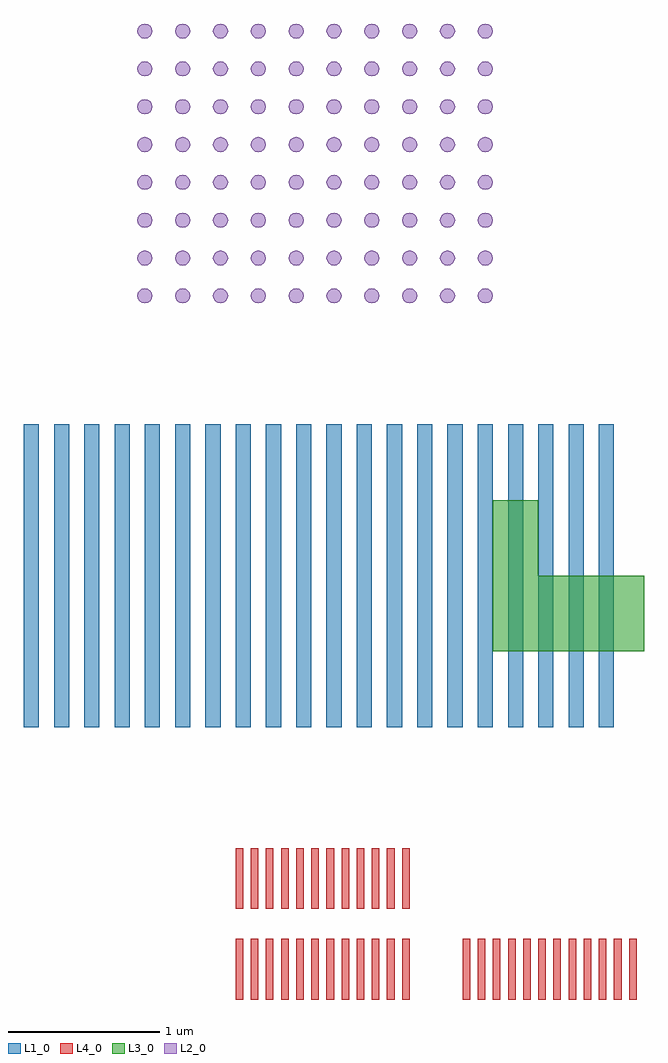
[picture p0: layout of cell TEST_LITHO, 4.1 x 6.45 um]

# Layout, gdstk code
import gdstk
lib = gdstk.Library(unit=1e-6, precision=1e-09)
def R(c, l, rs):  # rectangles x0, y0, x1, y1
    for r in rs: c.add(gdstk.rectangle(r[:2], r[2:], *l))
def A(c, l, x, y, w, h, nx, ny, dx, dy):  # array of equal rectangles
    R(c, l, [(x+i*dx, y+j*dy, x+i*dx+w, y+j*dy+h) for i in range(nx) for j in range(ny)])
def P(c, l, *ps):  # polygons
    for p in ps: c.add(gdstk.Polygon(p, *l))
L1_0 = (1, 0)
L2_0 = (2, 0)
L3_0 = (3, 0)
L4_0 = (4, 0)

dense_ls_50nm = lib.new_cell('DENSE_LS_50NM')
A(dense_ls_50nm, L4_0, 0, 0, 0.05, 0.4, 12, 1, 0.1, 0)

test_litho = lib.new_cell('TEST_LITHO')
A(test_litho, L1_0, -2, -1, 0.1, 2, 20, 1, 0.2, 0)
P(test_litho, L2_0, [(-1.15,1.85),(-1.154,1.869),(-1.165,1.885),(-1.181,1.896),(-1.2,1.9),(-1.219,1.896),(-1.235,1.885),(-1.246,1.869),(-1.25,1.85),(-1.246,1.831),(-1.235,1.815),(-1.219,1.804),(-1.2,1.8),(-1.181,1.804),(-1.165,1.815),(-1.154,1.831)],
  [(-1.15,2.1),(-1.154,2.119),(-1.165,2.135),(-1.181,2.146),(-1.2,2.15),(-1.219,2.146),(-1.235,2.135),(-1.246,2.119),(-1.25,2.1),(-1.246,2.081),(-1.235,2.065),(-1.219,2.054),(-1.2,2.05),(-1.181,2.054),(-1.165,2.065),(-1.154,2.081)],
  [(-1.15,2.35),(-1.154,2.369),(-1.165,2.385),(-1.181,2.396),(-1.2,2.4),(-1.219,2.396),(-1.235,2.385),(-1.246,2.369),(-1.25,2.35),(-1.246,2.331),(-1.235,2.315),(-1.219,2.304),(-1.2,2.3),(-1.181,2.304),(-1.165,2.315),(-1.154,2.331)],
  [(-1.15,2.6),(-1.154,2.619),(-1.165,2.635),(-1.181,2.646),(-1.2,2.65),(-1.219,2.646),(-1.235,2.635),(-1.246,2.619),(-1.25,2.6),(-1.246,2.581),(-1.235,2.565),(-1.219,2.554),(-1.2,2.55),(-1.181,2.554),(-1.165,2.565),(-1.154,2.581)],
  [(-1.15,2.85),(-1.154,2.869),(-1.165,2.885),(-1.181,2.896),(-1.2,2.9),(-1.219,2.896),(-1.235,2.885),(-1.246,2.869),(-1.25,2.85),(-1.246,2.831),(-1.235,2.815),(-1.219,2.804),(-1.2,2.8),(-1.181,2.804),(-1.165,2.815),(-1.154,2.831)],
  [(-1.15,3.1),(-1.154,3.119),(-1.165,3.135),(-1.181,3.146),(-1.2,3.15),(-1.219,3.146),(-1.235,3.135),(-1.246,3.119),(-1.25,3.1),(-1.246,3.081),(-1.235,3.065),(-1.219,3.054),(-1.2,3.05),(-1.181,3.054),(-1.165,3.065),(-1.154,3.081)],
  [(-1.15,3.35),(-1.154,3.369),(-1.165,3.385),(-1.181,3.396),(-1.2,3.4),(-1.219,3.396),(-1.235,3.385),(-1.246,3.369),(-1.25,3.35),(-1.246,3.331),(-1.235,3.315),(-1.219,3.304),(-1.2,3.3),(-1.181,3.304),(-1.165,3.315),(-1.154,3.331)],
  [(-1.15,3.6),(-1.154,3.619),(-1.165,3.635),(-1.181,3.646),(-1.2,3.65),(-1.219,3.646),(-1.235,3.635),(-1.246,3.619),(-1.25,3.6),(-1.246,3.581),(-1.235,3.565),(-1.219,3.554),(-1.2,3.55),(-1.181,3.554),(-1.165,3.565),(-1.154,3.581)],
  [(-0.9,1.85),(-0.904,1.869),(-0.915,1.885),(-0.931,1.896),(-0.95,1.9),(-0.969,1.896),(-0.985,1.885),(-0.996,1.869),(-1,1.85),(-0.996,1.831),(-0.985,1.815),(-0.969,1.804),(-0.95,1.8),(-0.931,1.804),(-0.915,1.815),(-0.904,1.831)],
  [(-0.9,2.1),(-0.904,2.119),(-0.915,2.135),(-0.931,2.146),(-0.95,2.15),(-0.969,2.146),(-0.985,2.135),(-0.996,2.119),(-1,2.1),(-0.996,2.081),(-0.985,2.065),(-0.969,2.054),(-0.95,2.05),(-0.931,2.054),(-0.915,2.065),(-0.904,2.081)],
  [(-0.9,2.35),(-0.904,2.369),(-0.915,2.385),(-0.931,2.396),(-0.95,2.4),(-0.969,2.396),(-0.985,2.385),(-0.996,2.369),(-1,2.35),(-0.996,2.331),(-0.985,2.315),(-0.969,2.304),(-0.95,2.3),(-0.931,2.304),(-0.915,2.315),(-0.904,2.331)],
  [(-0.9,2.6),(-0.904,2.619),(-0.915,2.635),(-0.931,2.646),(-0.95,2.65),(-0.969,2.646),(-0.985,2.635),(-0.996,2.619),(-1,2.6),(-0.996,2.581),(-0.985,2.565),(-0.969,2.554),(-0.95,2.55),(-0.931,2.554),(-0.915,2.565),(-0.904,2.581)],
  [(-0.9,2.85),(-0.904,2.869),(-0.915,2.885),(-0.931,2.896),(-0.95,2.9),(-0.969,2.896),(-0.985,2.885),(-0.996,2.869),(-1,2.85),(-0.996,2.831),(-0.985,2.815),(-0.969,2.804),(-0.95,2.8),(-0.931,2.804),(-0.915,2.815),(-0.904,2.831)],
  [(-0.9,3.1),(-0.904,3.119),(-0.915,3.135),(-0.931,3.146),(-0.95,3.15),(-0.969,3.146),(-0.985,3.135),(-0.996,3.119),(-1,3.1),(-0.996,3.081),(-0.985,3.065),(-0.969,3.054),(-0.95,3.05),(-0.931,3.054),(-0.915,3.065),(-0.904,3.081)],
  [(-0.9,3.35),(-0.904,3.369),(-0.915,3.385),(-0.931,3.396),(-0.95,3.4),(-0.969,3.396),(-0.985,3.385),(-0.996,3.369),(-1,3.35),(-0.996,3.331),(-0.985,3.315),(-0.969,3.304),(-0.95,3.3),(-0.931,3.304),(-0.915,3.315),(-0.904,3.331)],
  [(-0.9,3.6),(-0.904,3.619),(-0.915,3.635),(-0.931,3.646),(-0.95,3.65),(-0.969,3.646),(-0.985,3.635),(-0.996,3.619),(-1,3.6),(-0.996,3.581),(-0.985,3.565),(-0.969,3.554),(-0.95,3.55),(-0.931,3.554),(-0.915,3.565),(-0.904,3.581)],
  [(-0.65,1.85),(-0.654,1.869),(-0.665,1.885),(-0.681,1.896),(-0.7,1.9),(-0.719,1.896),(-0.735,1.885),(-0.746,1.869),(-0.75,1.85),(-0.746,1.831),(-0.735,1.815),(-0.719,1.804),(-0.7,1.8),(-0.681,1.804),(-0.665,1.815),(-0.654,1.831)],
  [(-0.65,2.1),(-0.654,2.119),(-0.665,2.135),(-0.681,2.146),(-0.7,2.15),(-0.719,2.146),(-0.735,2.135),(-0.746,2.119),(-0.75,2.1),(-0.746,2.081),(-0.735,2.065),(-0.719,2.054),(-0.7,2.05),(-0.681,2.054),(-0.665,2.065),(-0.654,2.081)],
  [(-0.65,2.35),(-0.654,2.369),(-0.665,2.385),(-0.681,2.396),(-0.7,2.4),(-0.719,2.396),(-0.735,2.385),(-0.746,2.369),(-0.75,2.35),(-0.746,2.331),(-0.735,2.315),(-0.719,2.304),(-0.7,2.3),(-0.681,2.304),(-0.665,2.315),(-0.654,2.331)],
  [(-0.65,2.6),(-0.654,2.619),(-0.665,2.635),(-0.681,2.646),(-0.7,2.65),(-0.719,2.646),(-0.735,2.635),(-0.746,2.619),(-0.75,2.6),(-0.746,2.581),(-0.735,2.565),(-0.719,2.554),(-0.7,2.55),(-0.681,2.554),(-0.665,2.565),(-0.654,2.581)],
  [(-0.65,2.85),(-0.654,2.869),(-0.665,2.885),(-0.681,2.896),(-0.7,2.9),(-0.719,2.896),(-0.735,2.885),(-0.746,2.869),(-0.75,2.85),(-0.746,2.831),(-0.735,2.815),(-0.719,2.804),(-0.7,2.8),(-0.681,2.804),(-0.665,2.815),(-0.654,2.831)],
  [(-0.65,3.1),(-0.654,3.119),(-0.665,3.135),(-0.681,3.146),(-0.7,3.15),(-0.719,3.146),(-0.735,3.135),(-0.746,3.119),(-0.75,3.1),(-0.746,3.081),(-0.735,3.065),(-0.719,3.054),(-0.7,3.05),(-0.681,3.054),(-0.665,3.065),(-0.654,3.081)],
  [(-0.65,3.35),(-0.654,3.369),(-0.665,3.385),(-0.681,3.396),(-0.7,3.4),(-0.719,3.396),(-0.735,3.385),(-0.746,3.369),(-0.75,3.35),(-0.746,3.331),(-0.735,3.315),(-0.719,3.304),(-0.7,3.3),(-0.681,3.304),(-0.665,3.315),(-0.654,3.331)],
  [(-0.65,3.6),(-0.654,3.619),(-0.665,3.635),(-0.681,3.646),(-0.7,3.65),(-0.719,3.646),(-0.735,3.635),(-0.746,3.619),(-0.75,3.6),(-0.746,3.581),(-0.735,3.565),(-0.719,3.554),(-0.7,3.55),(-0.681,3.554),(-0.665,3.565),(-0.654,3.581)],
  [(-0.4,1.85),(-0.404,1.869),(-0.415,1.885),(-0.431,1.896),(-0.45,1.9),(-0.469,1.896),(-0.485,1.885),(-0.496,1.869),(-0.5,1.85),(-0.496,1.831),(-0.485,1.815),(-0.469,1.804),(-0.45,1.8),(-0.431,1.804),(-0.415,1.815),(-0.404,1.831)],
  [(-0.4,2.1),(-0.404,2.119),(-0.415,2.135),(-0.431,2.146),(-0.45,2.15),(-0.469,2.146),(-0.485,2.135),(-0.496,2.119),(-0.5,2.1),(-0.496,2.081),(-0.485,2.065),(-0.469,2.054),(-0.45,2.05),(-0.431,2.054),(-0.415,2.065),(-0.404,2.081)],
  [(-0.4,2.35),(-0.404,2.369),(-0.415,2.385),(-0.431,2.396),(-0.45,2.4),(-0.469,2.396),(-0.485,2.385),(-0.496,2.369),(-0.5,2.35),(-0.496,2.331),(-0.485,2.315),(-0.469,2.304),(-0.45,2.3),(-0.431,2.304),(-0.415,2.315),(-0.404,2.331)],
  [(-0.4,2.6),(-0.404,2.619),(-0.415,2.635),(-0.431,2.646),(-0.45,2.65),(-0.469,2.646),(-0.485,2.635),(-0.496,2.619),(-0.5,2.6),(-0.496,2.581),(-0.485,2.565),(-0.469,2.554),(-0.45,2.55),(-0.431,2.554),(-0.415,2.565),(-0.404,2.581)],
  [(-0.4,2.85),(-0.404,2.869),(-0.415,2.885),(-0.431,2.896),(-0.45,2.9),(-0.469,2.896),(-0.485,2.885),(-0.496,2.869),(-0.5,2.85),(-0.496,2.831),(-0.485,2.815),(-0.469,2.804),(-0.45,2.8),(-0.431,2.804),(-0.415,2.815),(-0.404,2.831)],
  [(-0.4,3.1),(-0.404,3.119),(-0.415,3.135),(-0.431,3.146),(-0.45,3.15),(-0.469,3.146),(-0.485,3.135),(-0.496,3.119),(-0.5,3.1),(-0.496,3.081),(-0.485,3.065),(-0.469,3.054),(-0.45,3.05),(-0.431,3.054),(-0.415,3.065),(-0.404,3.081)],
  [(-0.4,3.35),(-0.404,3.369),(-0.415,3.385),(-0.431,3.396),(-0.45,3.4),(-0.469,3.396),(-0.485,3.385),(-0.496,3.369),(-0.5,3.35),(-0.496,3.331),(-0.485,3.315),(-0.469,3.304),(-0.45,3.3),(-0.431,3.304),(-0.415,3.315),(-0.404,3.331)],
  [(-0.4,3.6),(-0.404,3.619),(-0.415,3.635),(-0.431,3.646),(-0.45,3.65),(-0.469,3.646),(-0.485,3.635),(-0.496,3.619),(-0.5,3.6),(-0.496,3.581),(-0.485,3.565),(-0.469,3.554),(-0.45,3.55),(-0.431,3.554),(-0.415,3.565),(-0.404,3.581)],
  [(-0.15,1.85),(-0.154,1.869),(-0.165,1.885),(-0.181,1.896),(-0.2,1.9),(-0.219,1.896),(-0.235,1.885),(-0.246,1.869),(-0.25,1.85),(-0.246,1.831),(-0.235,1.815),(-0.219,1.804),(-0.2,1.8),(-0.181,1.804),(-0.165,1.815),(-0.154,1.831)],
  [(-0.15,2.1),(-0.154,2.119),(-0.165,2.135),(-0.181,2.146),(-0.2,2.15),(-0.219,2.146),(-0.235,2.135),(-0.246,2.119),(-0.25,2.1),(-0.246,2.081),(-0.235,2.065),(-0.219,2.054),(-0.2,2.05),(-0.181,2.054),(-0.165,2.065),(-0.154,2.081)],
  [(-0.15,2.35),(-0.154,2.369),(-0.165,2.385),(-0.181,2.396),(-0.2,2.4),(-0.219,2.396),(-0.235,2.385),(-0.246,2.369),(-0.25,2.35),(-0.246,2.331),(-0.235,2.315),(-0.219,2.304),(-0.2,2.3),(-0.181,2.304),(-0.165,2.315),(-0.154,2.331)],
  [(-0.15,2.6),(-0.154,2.619),(-0.165,2.635),(-0.181,2.646),(-0.2,2.65),(-0.219,2.646),(-0.235,2.635),(-0.246,2.619),(-0.25,2.6),(-0.246,2.581),(-0.235,2.565),(-0.219,2.554),(-0.2,2.55),(-0.181,2.554),(-0.165,2.565),(-0.154,2.581)],
  [(-0.15,2.85),(-0.154,2.869),(-0.165,2.885),(-0.181,2.896),(-0.2,2.9),(-0.219,2.896),(-0.235,2.885),(-0.246,2.869),(-0.25,2.85),(-0.246,2.831),(-0.235,2.815),(-0.219,2.804),(-0.2,2.8),(-0.181,2.804),(-0.165,2.815),(-0.154,2.831)],
  [(-0.15,3.1),(-0.154,3.119),(-0.165,3.135),(-0.181,3.146),(-0.2,3.15),(-0.219,3.146),(-0.235,3.135),(-0.246,3.119),(-0.25,3.1),(-0.246,3.081),(-0.235,3.065),(-0.219,3.054),(-0.2,3.05),(-0.181,3.054),(-0.165,3.065),(-0.154,3.081)],
  [(-0.15,3.35),(-0.154,3.369),(-0.165,3.385),(-0.181,3.396),(-0.2,3.4),(-0.219,3.396),(-0.235,3.385),(-0.246,3.369),(-0.25,3.35),(-0.246,3.331),(-0.235,3.315),(-0.219,3.304),(-0.2,3.3),(-0.181,3.304),(-0.165,3.315),(-0.154,3.331)],
  [(-0.15,3.6),(-0.154,3.619),(-0.165,3.635),(-0.181,3.646),(-0.2,3.65),(-0.219,3.646),(-0.235,3.635),(-0.246,3.619),(-0.25,3.6),(-0.246,3.581),(-0.235,3.565),(-0.219,3.554),(-0.2,3.55),(-0.181,3.554),(-0.165,3.565),(-0.154,3.581)],
  [(0.1,1.85),(0.096,1.869),(0.085,1.885),(0.069,1.896),(0.05,1.9),(0.031,1.896),(0.015,1.885),(0.004,1.869),(0,1.85),(0.004,1.831),(0.015,1.815),(0.031,1.804),(0.05,1.8),(0.069,1.804),(0.085,1.815),(0.096,1.831)],
  [(0.1,2.1),(0.096,2.119),(0.085,2.135),(0.069,2.146),(0.05,2.15),(0.031,2.146),(0.015,2.135),(0.004,2.119),(0,2.1),(0.004,2.081),(0.015,2.065),(0.031,2.054),(0.05,2.05),(0.069,2.054),(0.085,2.065),(0.096,2.081)],
  [(0.1,2.35),(0.096,2.369),(0.085,2.385),(0.069,2.396),(0.05,2.4),(0.031,2.396),(0.015,2.385),(0.004,2.369),(0,2.35),(0.004,2.331),(0.015,2.315),(0.031,2.304),(0.05,2.3),(0.069,2.304),(0.085,2.315),(0.096,2.331)],
  [(0.1,2.6),(0.096,2.619),(0.085,2.635),(0.069,2.646),(0.05,2.65),(0.031,2.646),(0.015,2.635),(0.004,2.619),(0,2.6),(0.004,2.581),(0.015,2.565),(0.031,2.554),(0.05,2.55),(0.069,2.554),(0.085,2.565),(0.096,2.581)],
  [(0.1,2.85),(0.096,2.869),(0.085,2.885),(0.069,2.896),(0.05,2.9),(0.031,2.896),(0.015,2.885),(0.004,2.869),(0,2.85),(0.004,2.831),(0.015,2.815),(0.031,2.804),(0.05,2.8),(0.069,2.804),(0.085,2.815),(0.096,2.831)],
  [(0.1,3.1),(0.096,3.119),(0.085,3.135),(0.069,3.146),(0.05,3.15),(0.031,3.146),(0.015,3.135),(0.004,3.119),(0,3.1),(0.004,3.081),(0.015,3.065),(0.031,3.054),(0.05,3.05),(0.069,3.054),(0.085,3.065),(0.096,3.081)],
  [(0.1,3.35),(0.096,3.369),(0.085,3.385),(0.069,3.396),(0.05,3.4),(0.031,3.396),(0.015,3.385),(0.004,3.369),(0,3.35),(0.004,3.331),(0.015,3.315),(0.031,3.304),(0.05,3.3),(0.069,3.304),(0.085,3.315),(0.096,3.331)],
  [(0.1,3.6),(0.096,3.619),(0.085,3.635),(0.069,3.646),(0.05,3.65),(0.031,3.646),(0.015,3.635),(0.004,3.619),(0,3.6),(0.004,3.581),(0.015,3.565),(0.031,3.554),(0.05,3.55),(0.069,3.554),(0.085,3.565),(0.096,3.581)],
  [(0.35,1.85),(0.346,1.869),(0.335,1.885),(0.319,1.896),(0.3,1.9),(0.281,1.896),(0.265,1.885),(0.254,1.869),(0.25,1.85),(0.254,1.831),(0.265,1.815),(0.281,1.804),(0.3,1.8),(0.319,1.804),(0.335,1.815),(0.346,1.831)],
  [(0.35,2.1),(0.346,2.119),(0.335,2.135),(0.319,2.146),(0.3,2.15),(0.281,2.146),(0.265,2.135),(0.254,2.119),(0.25,2.1),(0.254,2.081),(0.265,2.065),(0.281,2.054),(0.3,2.05),(0.319,2.054),(0.335,2.065),(0.346,2.081)],
  [(0.35,2.35),(0.346,2.369),(0.335,2.385),(0.319,2.396),(0.3,2.4),(0.281,2.396),(0.265,2.385),(0.254,2.369),(0.25,2.35),(0.254,2.331),(0.265,2.315),(0.281,2.304),(0.3,2.3),(0.319,2.304),(0.335,2.315),(0.346,2.331)],
  [(0.35,2.6),(0.346,2.619),(0.335,2.635),(0.319,2.646),(0.3,2.65),(0.281,2.646),(0.265,2.635),(0.254,2.619),(0.25,2.6),(0.254,2.581),(0.265,2.565),(0.281,2.554),(0.3,2.55),(0.319,2.554),(0.335,2.565),(0.346,2.581)],
  [(0.35,2.85),(0.346,2.869),(0.335,2.885),(0.319,2.896),(0.3,2.9),(0.281,2.896),(0.265,2.885),(0.254,2.869),(0.25,2.85),(0.254,2.831),(0.265,2.815),(0.281,2.804),(0.3,2.8),(0.319,2.804),(0.335,2.815),(0.346,2.831)],
  [(0.35,3.1),(0.346,3.119),(0.335,3.135),(0.319,3.146),(0.3,3.15),(0.281,3.146),(0.265,3.135),(0.254,3.119),(0.25,3.1),(0.254,3.081),(0.265,3.065),(0.281,3.054),(0.3,3.05),(0.319,3.054),(0.335,3.065),(0.346,3.081)],
  [(0.35,3.35),(0.346,3.369),(0.335,3.385),(0.319,3.396),(0.3,3.4),(0.281,3.396),(0.265,3.385),(0.254,3.369),(0.25,3.35),(0.254,3.331),(0.265,3.315),(0.281,3.304),(0.3,3.3),(0.319,3.304),(0.335,3.315),(0.346,3.331)],
  [(0.35,3.6),(0.346,3.619),(0.335,3.635),(0.319,3.646),(0.3,3.65),(0.281,3.646),(0.265,3.635),(0.254,3.619),(0.25,3.6),(0.254,3.581),(0.265,3.565),(0.281,3.554),(0.3,3.55),(0.319,3.554),(0.335,3.565),(0.346,3.581)],
  [(0.6,1.85),(0.596,1.869),(0.585,1.885),(0.569,1.896),(0.55,1.9),(0.531,1.896),(0.515,1.885),(0.504,1.869),(0.5,1.85),(0.504,1.831),(0.515,1.815),(0.531,1.804),(0.55,1.8),(0.569,1.804),(0.585,1.815),(0.596,1.831)],
  [(0.6,2.1),(0.596,2.119),(0.585,2.135),(0.569,2.146),(0.55,2.15),(0.531,2.146),(0.515,2.135),(0.504,2.119),(0.5,2.1),(0.504,2.081),(0.515,2.065),(0.531,2.054),(0.55,2.05),(0.569,2.054),(0.585,2.065),(0.596,2.081)],
  [(0.6,2.35),(0.596,2.369),(0.585,2.385),(0.569,2.396),(0.55,2.4),(0.531,2.396),(0.515,2.385),(0.504,2.369),(0.5,2.35),(0.504,2.331),(0.515,2.315),(0.531,2.304),(0.55,2.3),(0.569,2.304),(0.585,2.315),(0.596,2.331)],
  [(0.6,2.6),(0.596,2.619),(0.585,2.635),(0.569,2.646),(0.55,2.65),(0.531,2.646),(0.515,2.635),(0.504,2.619),(0.5,2.6),(0.504,2.581),(0.515,2.565),(0.531,2.554),(0.55,2.55),(0.569,2.554),(0.585,2.565),(0.596,2.581)],
  [(0.6,2.85),(0.596,2.869),(0.585,2.885),(0.569,2.896),(0.55,2.9),(0.531,2.896),(0.515,2.885),(0.504,2.869),(0.5,2.85),(0.504,2.831),(0.515,2.815),(0.531,2.804),(0.55,2.8),(0.569,2.804),(0.585,2.815),(0.596,2.831)],
  [(0.6,3.1),(0.596,3.119),(0.585,3.135),(0.569,3.146),(0.55,3.15),(0.531,3.146),(0.515,3.135),(0.504,3.119),(0.5,3.1),(0.504,3.081),(0.515,3.065),(0.531,3.054),(0.55,3.05),(0.569,3.054),(0.585,3.065),(0.596,3.081)],
  [(0.6,3.35),(0.596,3.369),(0.585,3.385),(0.569,3.396),(0.55,3.4),(0.531,3.396),(0.515,3.385),(0.504,3.369),(0.5,3.35),(0.504,3.331),(0.515,3.315),(0.531,3.304),(0.55,3.3),(0.569,3.304),(0.585,3.315),(0.596,3.331)],
  [(0.6,3.6),(0.596,3.619),(0.585,3.635),(0.569,3.646),(0.55,3.65),(0.531,3.646),(0.515,3.635),(0.504,3.619),(0.5,3.6),(0.504,3.581),(0.515,3.565),(0.531,3.554),(0.55,3.55),(0.569,3.554),(0.585,3.565),(0.596,3.581)],
  [(0.85,1.85),(0.846,1.869),(0.835,1.885),(0.819,1.896),(0.8,1.9),(0.781,1.896),(0.765,1.885),(0.754,1.869),(0.75,1.85),(0.754,1.831),(0.765,1.815),(0.781,1.804),(0.8,1.8),(0.819,1.804),(0.835,1.815),(0.846,1.831)],
  [(0.85,2.1),(0.846,2.119),(0.835,2.135),(0.819,2.146),(0.8,2.15),(0.781,2.146),(0.765,2.135),(0.754,2.119),(0.75,2.1),(0.754,2.081),(0.765,2.065),(0.781,2.054),(0.8,2.05),(0.819,2.054),(0.835,2.065),(0.846,2.081)],
  [(0.85,2.35),(0.846,2.369),(0.835,2.385),(0.819,2.396),(0.8,2.4),(0.781,2.396),(0.765,2.385),(0.754,2.369),(0.75,2.35),(0.754,2.331),(0.765,2.315),(0.781,2.304),(0.8,2.3),(0.819,2.304),(0.835,2.315),(0.846,2.331)],
  [(0.85,2.6),(0.846,2.619),(0.835,2.635),(0.819,2.646),(0.8,2.65),(0.781,2.646),(0.765,2.635),(0.754,2.619),(0.75,2.6),(0.754,2.581),(0.765,2.565),(0.781,2.554),(0.8,2.55),(0.819,2.554),(0.835,2.565),(0.846,2.581)],
  [(0.85,2.85),(0.846,2.869),(0.835,2.885),(0.819,2.896),(0.8,2.9),(0.781,2.896),(0.765,2.885),(0.754,2.869),(0.75,2.85),(0.754,2.831),(0.765,2.815),(0.781,2.804),(0.8,2.8),(0.819,2.804),(0.835,2.815),(0.846,2.831)],
  [(0.85,3.1),(0.846,3.119),(0.835,3.135),(0.819,3.146),(0.8,3.15),(0.781,3.146),(0.765,3.135),(0.754,3.119),(0.75,3.1),(0.754,3.081),(0.765,3.065),(0.781,3.054),(0.8,3.05),(0.819,3.054),(0.835,3.065),(0.846,3.081)],
  [(0.85,3.35),(0.846,3.369),(0.835,3.385),(0.819,3.396),(0.8,3.4),(0.781,3.396),(0.765,3.385),(0.754,3.369),(0.75,3.35),(0.754,3.331),(0.765,3.315),(0.781,3.304),(0.8,3.3),(0.819,3.304),(0.835,3.315),(0.846,3.331)],
  [(0.85,3.6),(0.846,3.619),(0.835,3.635),(0.819,3.646),(0.8,3.65),(0.781,3.646),(0.765,3.635),(0.754,3.619),(0.75,3.6),(0.754,3.581),(0.765,3.565),(0.781,3.554),(0.8,3.55),(0.819,3.554),(0.835,3.565),(0.846,3.581)],
  [(1.1,1.85),(1.096,1.869),(1.085,1.885),(1.069,1.896),(1.05,1.9),(1.031,1.896),(1.015,1.885),(1.004,1.869),(1,1.85),(1.004,1.831),(1.015,1.815),(1.031,1.804),(1.05,1.8),(1.069,1.804),(1.085,1.815),(1.096,1.831)],
  [(1.1,2.1),(1.096,2.119),(1.085,2.135),(1.069,2.146),(1.05,2.15),(1.031,2.146),(1.015,2.135),(1.004,2.119),(1,2.1),(1.004,2.081),(1.015,2.065),(1.031,2.054),(1.05,2.05),(1.069,2.054),(1.085,2.065),(1.096,2.081)],
  [(1.1,2.35),(1.096,2.369),(1.085,2.385),(1.069,2.396),(1.05,2.4),(1.031,2.396),(1.015,2.385),(1.004,2.369),(1,2.35),(1.004,2.331),(1.015,2.315),(1.031,2.304),(1.05,2.3),(1.069,2.304),(1.085,2.315),(1.096,2.331)],
  [(1.1,2.6),(1.096,2.619),(1.085,2.635),(1.069,2.646),(1.05,2.65),(1.031,2.646),(1.015,2.635),(1.004,2.619),(1,2.6),(1.004,2.581),(1.015,2.565),(1.031,2.554),(1.05,2.55),(1.069,2.554),(1.085,2.565),(1.096,2.581)],
  [(1.1,2.85),(1.096,2.869),(1.085,2.885),(1.069,2.896),(1.05,2.9),(1.031,2.896),(1.015,2.885),(1.004,2.869),(1,2.85),(1.004,2.831),(1.015,2.815),(1.031,2.804),(1.05,2.8),(1.069,2.804),(1.085,2.815),(1.096,2.831)],
  [(1.1,3.1),(1.096,3.119),(1.085,3.135),(1.069,3.146),(1.05,3.15),(1.031,3.146),(1.015,3.135),(1.004,3.119),(1,3.1),(1.004,3.081),(1.015,3.065),(1.031,3.054),(1.05,3.05),(1.069,3.054),(1.085,3.065),(1.096,3.081)],
  [(1.1,3.35),(1.096,3.369),(1.085,3.385),(1.069,3.396),(1.05,3.4),(1.031,3.396),(1.015,3.385),(1.004,3.369),(1,3.35),(1.004,3.331),(1.015,3.315),(1.031,3.304),(1.05,3.3),(1.069,3.304),(1.085,3.315),(1.096,3.331)],
  [(1.1,3.6),(1.096,3.619),(1.085,3.635),(1.069,3.646),(1.05,3.65),(1.031,3.646),(1.015,3.635),(1.004,3.619),(1,3.6),(1.004,3.581),(1.015,3.565),(1.031,3.554),(1.05,3.55),(1.069,3.554),(1.085,3.565),(1.096,3.581)])
P(test_litho, L3_0, [(1.1,-0.5),(2.1,-0.5),(2.1,0),(1.4,0),(1.4,0.5),(1.1,0.5)])
test_litho.add(gdstk.Reference(dense_ls_50nm, (-0.6,-2.2)))
r = gdstk.Reference(dense_ls_50nm, (-0.6,-2.8)); r.repetition = gdstk.Repetition(2, 1, v1=(1.5,0), v2=(0,0)); test_litho.add(r)

lib.write_gds('TEST_LITHO.gds')
